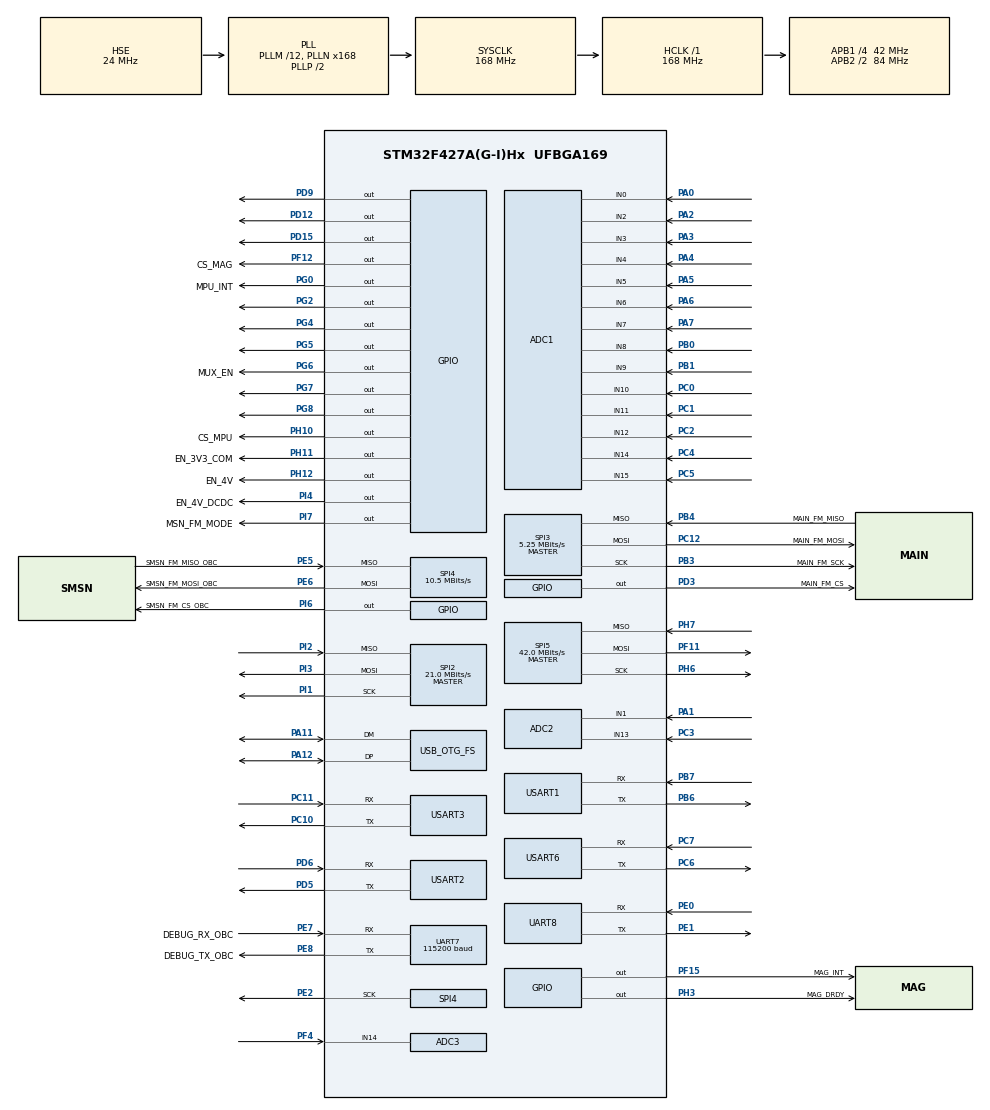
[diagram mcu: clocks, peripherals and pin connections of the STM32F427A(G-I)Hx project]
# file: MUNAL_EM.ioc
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ADC1.Channel-0\#ChannelRegularConversion=ADC_CHANNEL_0
ADC1.NbrOfConversionFlag=1
ADC1.Rank-0\#ChannelRegularConversion=1
ADC1.SamplingTime-0\#ChannelRegularConversion=ADC_SAMPLETIME_3CYCLES
ADC1.master=1
ADC2.Channel-0\#ChannelRegularConversion=ADC_CHANNEL_3
ADC2.NbrOfConversionFlag=1
ADC2.Rank-0\#ChannelRegularConversion=1
ADC2.SamplingTime-0\#ChannelRegularConversion=ADC_SAMPLETIME_3CYCLES
ADC3.Channel-0\#ChannelRegularConversion=ADC_CHANNEL_14
ADC3.NbrOfConversionFlag=1
ADC3.Rank-0\#ChannelRegularConversion=1
ADC3.SamplingTime-0\#ChannelRegularConversion=ADC_SAMPLETIME_3CYCLES
Dma.ADC1.3.Direction=DMA_PERIPH_TO_MEMORY
Dma.ADC1.3.FIFOMode=DMA_FIFOMODE_DISABLE
Dma.ADC1.3.Instance=DMA2_Stream4
Dma.ADC1.3.MemDataAlignment=DMA_MDATAALIGN_HALFWORD
Dma.ADC1.3.MemInc=DMA_MINC_ENABLE
Dma.ADC1.3.Mode=DMA_NORMAL
Dma.ADC1.3.PeriphDataAlignment=DMA_PDATAALIGN_HALFWORD
Dma.ADC1.3.PeriphInc=DMA_PINC_DISABLE
Dma.ADC1.3.Priority=DMA_PRIORITY_LOW
Dma.ADC2.2.Direction=DMA_PERIPH_TO_MEMORY
Dma.ADC2.2.FIFOMode=DMA_FIFOMODE_DISABLE
Dma.ADC2.2.Instance=DMA2_Stream2
Dma.ADC2.2.MemDataAlignment=DMA_MDATAALIGN_HALFWORD
Dma.ADC2.2.MemInc=DMA_MINC_ENABLE
Dma.ADC2.2.Mode=DMA_NORMAL
Dma.ADC2.2.PeriphDataAlignment=DMA_PDATAALIGN_HALFWORD
Dma.ADC2.2.PeriphInc=DMA_PINC_DISABLE
Dma.ADC2.2.Priority=DMA_PRIORITY_LOW
Dma.ADC3.4.Direction=DMA_PERIPH_TO_MEMORY
Dma.ADC3.4.FIFOMode=DMA_FIFOMODE_DISABLE
Dma.ADC3.4.Instance=DMA2_Stream0
Dma.ADC3.4.MemDataAlignment=DMA_MDATAALIGN_HALFWORD
Dma.ADC3.4.MemInc=DMA_MINC_ENABLE
Dma.ADC3.4.Mode=DMA_NORMAL
Dma.ADC3.4.PeriphDataAlignment=DMA_PDATAALIGN_HALFWORD
Dma.ADC3.4.PeriphInc=DMA_PINC_DISABLE
Dma.ADC3.4.Priority=DMA_PRIORITY_LOW
Dma.Request0=TIM6_UP
Dma.Request1=TIM7_UP
Dma.Request10=SPI3_RX
Dma.Request11=SPI3_TX
Dma.Request12=USART6_TX
Dma.Request13=USART1_RX
Dma.Request14=USART1_TX
Dma.Request15=USART2_RX
Dma.Request2=ADC2
Dma.Request3=ADC1
Dma.Request4=ADC3
Dma.Request5=UART8_RX
Dma.Request6=UART8_TX
Dma.Request7=UART7_RX
Dma.Request8=SPI4_RX
Dma.Request9=SPI4_TX
Dma.SPI3_RX.10.Direction=DMA_PERIPH_TO_MEMORY
Dma.SPI3_RX.10.FIFOMode=DMA_FIFOMODE_DISABLE
Dma.SPI3_RX.10.Instance=DMA1_Stream2
Dma.SPI3_RX.10.MemDataAlignment=DMA_MDATAALIGN_BYTE
Dma.SPI3_RX.10.MemInc=DMA_MINC_ENABLE
Dma.SPI3_RX.10.Mode=DMA_NORMAL
Dma.SPI3_RX.10.PeriphDataAlignment=DMA_PDATAALIGN_BYTE
Dma.SPI3_RX.10.PeriphInc=DMA_PINC_DISABLE
Dma.SPI3_RX.10.Priority=DMA_PRIORITY_LOW
Dma.SPI3_TX.11.Direction=DMA_MEMORY_TO_PERIPH
Dma.SPI3_TX.11.FIFOMode=DMA_FIFOMODE_DISABLE
Dma.SPI3_TX.11.Instance=DMA1_Stream7
Dma.SPI3_TX.11.MemDataAlignment=DMA_MDATAALIGN_BYTE
Dma.SPI3_TX.11.MemInc=DMA_MINC_ENABLE
Dma.SPI3_TX.11.Mode=DMA_NORMAL
Dma.SPI3_TX.11.PeriphDataAlignment=DMA_PDATAALIGN_BYTE
Dma.SPI3_TX.11.PeriphInc=DMA_PINC_DISABLE
Dma.SPI3_TX.11.Priority=DMA_PRIORITY_LOW
Dma.SPI4_RX.8.Direction=DMA_PERIPH_TO_MEMORY
Dma.SPI4_RX.8.FIFOMode=DMA_FIFOMODE_DISABLE
Dma.SPI4_RX.8.Instance=DMA2_Stream3
Dma.SPI4_RX.8.MemDataAlignment=DMA_MDATAALIGN_BYTE
Dma.SPI4_RX.8.MemInc=DMA_MINC_ENABLE
Dma.SPI4_RX.8.Mode=DMA_NORMAL
Dma.SPI4_RX.8.PeriphDataAlignment=DMA_PDATAALIGN_BYTE
Dma.SPI4_RX.8.PeriphInc=DMA_PINC_DISABLE
Dma.SPI4_RX.8.Priority=DMA_PRIORITY_LOW
Dma.SPI4_TX.9.Direction=DMA_MEMORY_TO_PERIPH
Dma.SPI4_TX.9.FIFOMode=DMA_FIFOMODE_DISABLE
Dma.SPI4_TX.9.Instance=DMA2_Stream1
Dma.SPI4_TX.9.MemDataAlignment=DMA_MDATAALIGN_BYTE
Dma.SPI4_TX.9.MemInc=DMA_MINC_ENABLE
Dma.SPI4_TX.9.Mode=DMA_NORMAL
Dma.SPI4_TX.9.PeriphDataAlignment=DMA_PDATAALIGN_BYTE
Dma.SPI4_TX.9.PeriphInc=DMA_PINC_DISABLE
Dma.SPI4_TX.9.Priority=DMA_PRIORITY_LOW
Dma.TIM6_UP.0.Direction=DMA_PERIPH_TO_MEMORY
Dma.TIM6_UP.0.FIFOMode=DMA_FIFOMODE_DISABLE
Dma.TIM6_UP.0.Instance=DMA1_Stream1
Dma.TIM6_UP.0.MemDataAlignment=DMA_MDATAALIGN_HALFWORD
Dma.TIM6_UP.0.MemInc=DMA_MINC_ENABLE
Dma.TIM6_UP.0.Mode=DMA_NORMAL
Dma.TIM6_UP.0.PeriphDataAlignment=DMA_PDATAALIGN_HALFWORD
Dma.TIM6_UP.0.PeriphInc=DMA_PINC_DISABLE
Dma.TIM6_UP.0.Priority=DMA_PRIORITY_LOW
Dma.TIM7_UP.1.Direction=DMA_PERIPH_TO_MEMORY
Dma.TIM7_UP.1.FIFOMode=DMA_FIFOMODE_DISABLE
Dma.TIM7_UP.1.Instance=DMA1_Stream4
Dma.TIM7_UP.1.MemDataAlignment=DMA_MDATAALIGN_HALFWORD
Dma.TIM7_UP.1.MemInc=DMA_MINC_ENABLE
Dma.TIM7_UP.1.Mode=DMA_NORMAL
Dma.TIM7_UP.1.PeriphDataAlignment=DMA_PDATAALIGN_HALFWORD
Dma.TIM7_UP.1.PeriphInc=DMA_PINC_DISABLE
Dma.TIM7_UP.1.Priority=DMA_PRIORITY_LOW
Dma.UART7_RX.7.Direction=DMA_PERIPH_TO_MEMORY
Dma.UART7_RX.7.FIFOMode=DMA_FIFOMODE_DISABLE
Dma.UART7_RX.7.Instance=DMA1_Stream3
Dma.UART7_RX.7.MemDataAlignment=DMA_MDATAALIGN_BYTE
Dma.UART7_RX.7.MemInc=DMA_MINC_ENABLE
Dma.UART7_RX.7.Mode=DMA_NORMAL
Dma.UART7_RX.7.PeriphDataAlignment=DMA_PDATAALIGN_BYTE
Dma.UART7_RX.7.PeriphInc=DMA_PINC_DISABLE
Dma.UART7_RX.7.Priority=DMA_PRIORITY_LOW
Dma.UART8_RX.5.Direction=DMA_PERIPH_TO_MEMORY
Dma.UART8_RX.5.FIFOMode=DMA_FIFOMODE_DISABLE
Dma.UART8_RX.5.Instance=DMA1_Stream6
Dma.UART8_RX.5.MemDataAlignment=DMA_MDATAALIGN_BYTE
Dma.UART8_RX.5.MemInc=DMA_MINC_ENABLE
Dma.UART8_RX.5.Mode=DMA_NORMAL
Dma.UART8_RX.5.PeriphDataAlignment=DMA_PDATAALIGN_BYTE
Dma.UART8_RX.5.PeriphInc=DMA_PINC_DISABLE
Dma.UART8_RX.5.Priority=DMA_PRIORITY_LOW
Dma.UART8_TX.6.Direction=DMA_MEMORY_TO_PERIPH
Dma.UART8_TX.6.FIFOMode=DMA_FIFOMODE_DISABLE
Dma.UART8_TX.6.Instance=DMA1_Stream0
Dma.UART8_TX.6.MemDataAlignment=DMA_MDATAALIGN_BYTE
Dma.UART8_TX.6.MemInc=DMA_MINC_ENABLE
Dma.UART8_TX.6.Mode=DMA_NORMAL
Dma.UART8_TX.6.PeriphDataAlignment=DMA_PDATAALIGN_BYTE
Dma.UART8_TX.6.PeriphInc=DMA_PINC_DISABLE
Dma.UART8_TX.6.Priority=DMA_PRIORITY_LOW
Dma.USART1_RX.13.Direction=DMA_PERIPH_TO_MEMORY
Dma.USART1_RX.13.FIFOMode=DMA_FIFOMODE_DISABLE
Dma.USART1_RX.13.Instance=DMA2_Stream5
Dma.USART1_RX.13.MemDataAlignment=DMA_MDATAALIGN_BYTE
Dma.USART1_RX.13.MemInc=DMA_MINC_ENABLE
Dma.USART1_RX.13.Mode=DMA_NORMAL
Dma.USART1_RX.13.PeriphDataAlignment=DMA_PDATAALIGN_BYTE
Dma.USART1_RX.13.PeriphInc=DMA_PINC_DISABLE
Dma.USART1_RX.13.Priority=DMA_PRIORITY_LOW
Dma.USART1_TX.14.Direction=DMA_MEMORY_TO_PERIPH
Dma.USART1_TX.14.FIFOMode=DMA_FIFOMODE_DISABLE
Dma.USART1_TX.14.Instance=DMA2_Stream7
Dma.USART1_TX.14.MemDataAlignment=DMA_MDATAALIGN_BYTE
Dma.USART1_TX.14.MemInc=DMA_MINC_ENABLE
Dma.USART1_TX.14.Mode=DMA_NORMAL
Dma.USART1_TX.14.PeriphDataAlignment=DMA_PDATAALIGN_BYTE
Dma.USART1_TX.14.PeriphInc=DMA_PINC_DISABLE
Dma.USART1_TX.14.Priority=DMA_PRIORITY_LOW
Dma.USART2_RX.15.Direction=DMA_PERIPH_TO_MEMORY
Dma.USART2_RX.15.FIFOMode=DMA_FIFOMODE_DISABLE
Dma.USART2_RX.15.Instance=DMA1_Stream5
Dma.USART2_RX.15.MemDataAlignment=DMA_MDATAALIGN_BYTE
Dma.USART2_RX.15.MemInc=DMA_MINC_ENABLE
Dma.USART2_RX.15.Mode=DMA_NORMAL
Dma.USART2_RX.15.PeriphDataAlignment=DMA_PDATAALIGN_BYTE
Dma.USART2_RX.15.PeriphInc=DMA_PINC_DISABLE
Dma.USART2_RX.15.Priority=DMA_PRIORITY_LOW
Dma.USART6_TX.12.Direction=DMA_MEMORY_TO_PERIPH
Dma.USART6_TX.12.FIFOMode=DMA_FIFOMODE_DISABLE
Dma.USART6_TX.12.Instance=DMA2_Stream6
Dma.USART6_TX.12.MemDataAlignment=DMA_MDATAALIGN_BYTE
Dma.USART6_TX.12.MemInc=DMA_MINC_ENABLE
Dma.USART6_TX.12.Mode=DMA_NORMAL
Dma.USART6_TX.12.PeriphDataAlignment=DMA_PDATAALIGN_BYTE
Dma.USART6_TX.12.PeriphInc=DMA_PINC_DISABLE
Dma.USART6_TX.12.Priority=DMA_PRIORITY_LOW
FREERTOS.Tasks01=defaultTask,24,128,StartDefaultTask,Default,NULL,Dynamic,NULL,NULL;myTask02,8,128,StartTask02,Default,NULL,Dynamic,NULL,NULL
FREERTOS.configTOTAL_HEAP_SIZE=25360
FREERTOS.configUSE_NEWLIB_REENTRANT=1
Mcu.Family=STM32F4
Mcu.Name=STM32F427A(G-I)Hx
Mcu.Package=UFBGA169
NVIC.ADC_IRQn=true\:5\:0\:false\:false\:true\:true\:true\:true
NVIC.DMA1_Stream0_IRQn=true\:5\:0\:false\:false\:true\:true\:false\:true
NVIC.DMA1_Stream1_IRQn=true\:5\:0\:false\:false\:true\:true\:false\:true
NVIC.DMA1_Stream2_IRQn=true\:5\:0\:false\:false\:true\:true\:false\:true
NVIC.DMA1_Stream3_IRQn=true\:5\:0\:false\:false\:true\:true\:false\:true
NVIC.DMA1_Stream4_IRQn=true\:5\:0\:false\:false\:true\:true\:false\:true
NVIC.DMA1_Stream5_IRQn=true\:5\:0\:false\:false\:true\:true\:false\:true
NVIC.DMA1_Stream6_IRQn=true\:5\:0\:false\:false\:true\:true\:false\:true
NVIC.DMA1_Stream7_IRQn=true\:5\:0\:false\:false\:true\:true\:false\:true
NVIC.DMA2_Stream0_IRQn=true\:5\:0\:false\:false\:true\:true\:false\:true
NVIC.DMA2_Stream1_IRQn=true\:5\:0\:false\:false\:true\:true\:false\:true
NVIC.DMA2_Stream2_IRQn=true\:5\:0\:false\:false\:true\:true\:false\:true
NVIC.DMA2_Stream3_IRQn=true\:5\:0\:false\:false\:true\:true\:false\:true
NVIC.DMA2_Stream4_IRQn=true\:5\:0\:false\:false\:true\:true\:false\:true
NVIC.DMA2_Stream5_IRQn=true\:5\:0\:false\:false\:true\:true\:false\:true
NVIC.DMA2_Stream6_IRQn=true\:5\:0\:false\:false\:true\:true\:false\:true
NVIC.DMA2_Stream7_IRQn=true\:5\:0\:false\:false\:true\:true\:false\:true
NVIC.OTG_FS_IRQn=true\:5\:0\:false\:false\:true\:true\:false\:true
NVIC.PriorityGroup=NVIC_PRIORITYGROUP_4
NVIC.RCC_IRQn=true\:5\:0\:false\:false\:true\:true\:true\:false
NVIC.SPI3_IRQn=true\:5\:0\:false\:false\:true\:true\:true\:true
NVIC.SPI4_IRQn=true\:5\:0\:false\:false\:true\:true\:true\:true
NVIC.SPI5_IRQn=true\:5\:0\:false\:false\:true\:true\:true\:true
NVIC.TIM1_BRK_TIM9_IRQn=true\:15\:0\:false\:false\:true\:false\:false\:true
NVIC.TIM6_DAC_IRQn=true\:5\:0\:false\:false\:true\:true\:true\:true
NVIC.TIM7_IRQn=true\:5\:0\:false\:false\:true\:true\:true\:true
NVIC.TimeBase=TIM1_BRK_TIM9_IRQn
NVIC.TimeBaseIP=TIM9
NVIC.UART7_IRQn=true\:5\:0\:false\:false\:true\:true\:true\:true
NVIC.UART8_IRQn=true\:5\:0\:false\:false\:true\:true\:true\:true
NVIC.USART1_IRQn=true\:5\:0\:false\:false\:true\:true\:true\:true
NVIC.USART2_IRQn=true\:5\:0\:false\:false\:true\:true\:true\:true
NVIC.USART3_IRQn=true\:5\:0\:false\:false\:true\:true\:true\:true
NVIC.USART6_IRQn=true\:5\:0\:false\:false\:true\:true\:true\:true
PA0/WKUP.Signal=ADCx_IN0
PA1.Signal=ADCx_IN1
PA11.Mode=Device_Only
PA11.Signal=USB_OTG_FS_DM
PA12.Mode=Device_Only
PA12.Signal=USB_OTG_FS_DP
PA13.Mode=Serial_Wire
PA13.Signal=SYS_JTMS-SWDIO
PA14.Mode=Serial_Wire
PA14.Signal=SYS_JTCK-SWCLK
PA2.Signal=ADCx_IN2
PA3.Signal=ADCx_IN3
PA4.Signal=ADCx_IN4
PA5.Signal=ADCx_IN5
PA6.Signal=ADCx_IN6
PA7.Signal=ADCx_IN7
PB0.Signal=ADCx_IN8
PB1.Signal=ADCx_IN9
PB3.GPIO_Label=MAIN_FM_SCK
PB3.Mode=Full_Duplex_Master
PB3.Signal=SPI3_SCK
PB4.GPIO_Label=MAIN_FM_MISO
PB4.Mode=Full_Duplex_Master
PB4.Signal=SPI3_MISO
PB6.Mode=Asynchronous
PB6.Signal=USART1_TX
PB7.Mode=Asynchronous
PB7.Signal=USART1_RX
PC0.Signal=ADCx_IN10
PC1.Signal=ADCx_IN11
PC10.Mode=Asynchronous
PC10.Signal=USART3_TX
PC11.Mode=Asynchronous
PC11.Signal=USART3_RX
PC12.GPIO_Label=MAIN_FM_MOSI
PC12.Mode=Full_Duplex_Master
PC12.Signal=SPI3_MOSI
PC2.Signal=ADCx_IN12
PC3.Signal=ADCx_IN13
PC4.Signal=ADCx_IN14
PC5.Signal=ADCx_IN15
PC6.Mode=Asynchronous
PC6.Signal=USART6_TX
PC7.Mode=Asynchronous
PC7.Signal=USART6_RX
PD12.Signal=GPIO_Output
PD15.Signal=GPIO_Output
PD3.GPIO_Label=MAIN_FM_CS
PD3.Signal=GPIO_Output
PD5.Mode=Asynchronous
PD5.Signal=USART2_TX
PD6.Mode=Asynchronous
PD6.Signal=USART2_RX
PD9.Signal=GPIO_Output
PE0.Mode=Asynchronous
PE0.Signal=UART8_RX
PE1.Mode=Asynchronous
PE1.Signal=UART8_TX
PE2.Mode=Full_Duplex_Master
PE2.Signal=SPI4_SCK
PE5.GPIO_Label=SMSN_FM_MISO_OBC
PE5.Mode=Full_Duplex_Master
PE5.Signal=SPI4_MISO
PE6.GPIO_Label=SMSN_FM_MOSI_OBC
PE6.Mode=Full_Duplex_Master
PE6.Signal=SPI4_MOSI
PE7.GPIO_Label=DEBUG_RX_OBC
PE7.Mode=Asynchronous
PE7.Signal=UART7_RX
PE8.GPIO_Label=DEBUG_TX_OBC
PE8.Mode=Asynchronous
PE8.Signal=UART7_TX
PF11.Mode=Full_Duplex_Master
PF11.Signal=SPI5_MOSI
PF12.GPIO_Label=CS_MAG
PF12.Signal=GPIO_Output
PF15.GPIO_Label=MAG_INT
PF15.Signal=GPIO_Output
PF4.Mode=IN14
PF4.Signal=ADC3_IN14
PG0.GPIO_Label=MPU_INT
PG0.Signal=GPIO_Output
PG2.Signal=GPIO_Output
PG4.Signal=GPIO_Output
PG5.Signal=GPIO_Output
PG6.GPIO_Label=MUX_EN
PG6.Signal=GPIO_Output
PG7.Signal=GPIO_Output
PG8.Signal=GPIO_Output
PH0/OSC_IN.Mode=HSE-External-Oscillator
PH0/OSC_IN.Signal=RCC_OSC_IN
PH1/OSC_OUT.Mode=HSE-External-Oscillator
PH1/OSC_OUT.Signal=RCC_OSC_OUT
PH10.GPIO_Label=CS_MPU
PH10.Signal=GPIO_Output
PH11.GPIO_Label=EN_3V3_COM
PH11.Signal=GPIO_Output
PH12.GPIO_Label=EN_4V
PH12.Signal=GPIO_Output
PH3.GPIO_Label=MAG_DRDY
PH3.Signal=GPIO_Output
PH6.Mode=Full_Duplex_Master
PH6.Signal=SPI5_SCK
PH7.Mode=Full_Duplex_Master
PH7.Signal=SPI5_MISO
PI1.Mode=Full_Duplex_Master
PI1.Signal=SPI2_SCK
PI2.Mode=Full_Duplex_Master
PI2.Signal=SPI2_MISO
PI3.Mode=Full_Duplex_Master
PI3.Signal=SPI2_MOSI
PI4.GPIO_Label=EN_4V_DCDC
PI4.Signal=GPIO_Output
PI6.GPIO_Label=SMSN_FM_CS_OBC
PI6.Signal=GPIO_Output
PI7.GPIO_Label=MSN_FM_MODE
PI7.Signal=GPIO_Output
ProjectManager.HeapSize=0x200
ProjectManager.StackSize=0x400
ProjectManager.TargetToolchain=STM32CubeIDE
RCC.48MHZClocksFreq_Value=48000000
RCC.AHBFreq_Value=168000000
RCC.APB1CLKDivider=RCC_HCLK_DIV4
RCC.APB1Freq_Value=42000000
RCC.APB1TimFreq_Value=84000000
RCC.APB2CLKDivider=RCC_HCLK_DIV2
RCC.APB2Freq_Value=84000000
RCC.APB2TimFreq_Value=168000000
RCC.CortexFreq_Value=168000000
RCC.HCLKFreq_Value=168000000
RCC.HSE_VALUE=24000000
RCC.HSI_VALUE=16000000
RCC.PLLM=12
RCC.PLLN=168
RCC.PLLQ=7
RCC.SYSCLKFreq_VALUE=168000000
RCC.SYSCLKSource=RCC_SYSCLKSOURCE_PLLCLK
RCC.VCOOutputFreq_Value=336000000
SH.ADCx_IN0.0=ADC1_IN0,IN0
SH.ADCx_IN0.1=ADC2_IN0,IN0
SH.ADCx_IN0.2=ADC3_IN0,IN0
SH.ADCx_IN1.0=ADC2_IN1,IN1
SH.ADCx_IN1.1=ADC1_IN1,IN1
SH.ADCx_IN1.2=ADC3_IN1,IN1
SH.ADCx_IN10.0=ADC1_IN10,IN10
SH.ADCx_IN10.1=ADC2_IN10,IN10
SH.ADCx_IN10.2=ADC3_IN10,IN10
SH.ADCx_IN11.0=ADC1_IN11,IN11
SH.ADCx_IN11.1=ADC2_IN11,IN11
SH.ADCx_IN11.2=ADC3_IN11,IN11
SH.ADCx_IN12.0=ADC1_IN12,IN12
SH.ADCx_IN12.1=ADC2_IN12,IN12
SH.ADCx_IN12.2=ADC3_IN12,IN12
SH.ADCx_IN13.0=ADC2_IN13,IN13
SH.ADCx_IN13.1=ADC1_IN13,IN13
SH.ADCx_IN14.0=ADC1_IN14,IN14
SH.ADCx_IN14.1=ADC2_IN14,IN14
SH.ADCx_IN15.0=ADC1_IN15,IN15
SH.ADCx_IN15.1=ADC2_IN15,IN15
SH.ADCx_IN2.0=ADC1_IN2,IN2
SH.ADCx_IN2.1=ADC2_IN2,IN2
SH.ADCx_IN2.2=ADC3_IN2,IN2
SH.ADCx_IN3.0=ADC1_IN3,IN3
SH.ADCx_IN3.1=ADC2_IN3,IN3
SH.ADCx_IN3.2=ADC3_IN3,IN3
SH.ADCx_IN4.0=ADC1_IN4,IN4
SH.ADCx_IN4.1=ADC2_IN4,IN4
SH.ADCx_IN5.0=ADC1_IN5,IN5
SH.ADCx_IN5.1=ADC2_IN5,IN5
SH.ADCx_IN6.0=ADC1_IN6,IN6
SH.ADCx_IN6.1=ADC2_IN6,IN6
SH.ADCx_IN7.0=ADC1_IN7,IN7
SH.ADCx_IN7.1=ADC2_IN7,IN7
SH.ADCx_IN8.0=ADC1_IN8,IN8
SH.ADCx_IN8.1=ADC2_IN8,IN8
SH.ADCx_IN9.0=ADC1_IN9,IN9
SH.ADCx_IN9.1=ADC2_IN9,IN9
SPI2.CalculateBaudRate=21.0 MBits/s
SPI2.Direction=SPI_DIRECTION_2LINES
SPI2.Mode=SPI_MODE_MASTER
SPI2.VirtualType=VM_MASTER
SPI3.BaudRatePrescaler=SPI_BAUDRATEPRESCALER_8
SPI3.CalculateBaudRate=5.25 MBits/s
SPI3.Direction=SPI_DIRECTION_2LINES
SPI3.Mode=SPI_MODE_MASTER
SPI3.VirtualType=VM_MASTER
SPI4.BaudRatePrescaler=SPI_BAUDRATEPRESCALER_8
SPI4.CalculateBaudRate=10.5 MBits/s
SPI4.Direction=SPI_DIRECTION_2LINES
SPI4.Mode=SPI_MODE_MASTER
SPI4.VirtualType=VM_MASTER
SPI5.CalculateBaudRate=42.0 MBits/s
SPI5.Direction=SPI_DIRECTION_2LINES
SPI5.Mode=SPI_MODE_MASTER
SPI5.VirtualType=VM_MASTER
TIM6.Period=10000-1
TIM6.Prescaler=8400-1
TIM7.Period=30000-1
TIM7.Prescaler=8400-1
UART7.BaudRate=115200
UART7.VirtualMode=Asynchronous
UART8.VirtualMode=Asynchronous
USART1.VirtualMode=VM_ASYNC
USART2.VirtualMode=VM_ASYNC
USART3.VirtualMode=VM_ASYNC
USART6.VirtualMode=VM_ASYNC
USB_DEVICE.CLASS_NAME_FS=CDC
USB_DEVICE.VirtualMode-CDC_FS=Cdc
USB_DEVICE.VirtualModeFS=Cdc_FS
USB_OTG_FS.VirtualMode=Device_Only
VP_ADC1_TempSens_Input.Mode=IN-TempSens
VP_FREERTOS_VS_CMSIS_V2.Mode=CMSIS_V2
VP_SYS_VS_tim9.Mode=TIM9
VP_TIM6_VS_ClockSourceINT.Mode=Enable_Timer
VP_TIM7_VS_ClockSourceINT.Mode=Enable_Timer
VP_USB_DEVICE_VS_USB_DEVICE_CDC_FS.Mode=CDC_FS
board=custom

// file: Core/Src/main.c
/* USER CODE BEGIN Header */
/**
  ******************************************************************************
  * @file           : main.c
  * @brief          : Main program body
  ******************************************************************************
  * @attention
  *
  * <h2><center>&copy; Copyright (c) 2024 STMicroelectronics.
  * All rights reserved.</center></h2>
  *
  * This software component is licensed by ST under Ultimate Liberty license
  * SLA0044, the "License"; You may not use this file except in compliance with
  * the License. You may obtain a copy of the License at:
  *                             www.st.com/SLA0044
  *
  ******************************************************************************
  */
/* USER CODE END Header */
#include "main.h"
#include "cmsis_os.h"
#include "adc.h"
#include "dma.h"
#include "spi.h"
#include "tim.h"
#include "usart.h"
#include "usb_device.h"
#include "gpio.h"

/* USER CODE BEGIN Includes */
//#include "stdarg.h"
//#include "lfs_util.h"
//#include "lfs.h"
//#include "MT25Q.h"
//#include "nor.h"
#include "../../IMU/imu.h"
#include "command_parser.h"
#include "file_operations.h"

/* USER CODE END Includes */

/* USER CODE BEGIN PD */
#define sector_size 32

#define PATH_MAX_LEN 256
/* USER CODE END PD */

/* USER CODE BEGIN PM */
//void myprintf(const char *fmt, ...);
/* USER CODE END PM */

/* USER CODE BEGIN PV */
ADC_HandleTypeDef hadc1;
ADC_HandleTypeDef hadc3;

SPI_HandleTypeDef hspi3;
SPI_HandleTypeDef hspi4;

UART_HandleTypeDef huart7;
UART_HandleTypeDef huart1;

/* USER CODE BEGIN PV */
//uint8_t tx[]={'S','A','N','G','A','M'};
HAL_StatusTypeDef catch;
uint8_t HANDSHAKE_STATUS = 0;
uint8_t COM_RX_DATA[30];
uint16_t adc_buf[17];
float adc_conv_buf[17];

uint8_t hk_counter=0;
uint16_t tim_val = 0;
uint16_t address = 0x00;
uint8_t status_reg=0;
uint8_t READ_FLAG=0;
int tx[70];

uint8_t DEBUG_DATA_RX_FLAG = 0;
// variables used by the filesystem
typedef struct{
	uint32_t secCount;
	uint32_t bootCount;
}app_count_t;
	lfs_file_t File,File2[2];
		char Text[20];
		app_count_t Counter = {0};
		lfs_t Lfs,Lfs2[2];
		nor_t Nor;
		uint16_t adc_channels[17] = {'66535'};
		uint16_t adc1_channels[17] = {'66535'};

/* USER CODE END PV */

void SystemClock_Config(void);
void MX_FREERTOS_Init(void);
/* USER CODE BEGIN PFP */

void __init_littefs(){
	// because of static qualifier, this variable
	// will have a dedicated address
	static struct lfs_config LfsConfig = {0};
		int Error;

		LfsConfig.read_size = 256;
		LfsConfig.prog_size = 256;
		LfsConfig.block_size = Nor.info.u16SectorSize;
		LfsConfig.block_count =  16384;//Nor.info.u32SectorCount;
		LfsConfig.cache_size = Nor.info.u16PageSize;
		LfsConfig.lookahead_size = 256;//Nor.info.u32SectorCount/8;
		LfsConfig.block_cycles = 15000;

		LfsConfig.read = _fs_read;
		LfsConfig.prog = _fs_write;
		LfsConfig.erase = _fs_erase;
		LfsConfig.sync = _fs_sync;

		Error = lfs_mount(&Lfs, &LfsConfig);
		if (Error != LFS_ERR_OK){
			lfs_format(&Lfs, &LfsConfig);
			Error = lfs_mount(&Lfs, &LfsConfig);
			if (Error != LFS_ERR_OK){
				Error_Handler();
			}
		}

}

// Recursive function to list files and directories with full paths
void list_files_with_size(lfs_t *lfs, const char *path) {
    lfs_dir_t dir;
    struct lfs_info info;

    // Open the directory at the given path
    int err = lfs_dir_open(lfs, &dir, path);
    if (err) {
        printf("Failed to open directory: %s\n", path);
        return;
    }

    // Loop through all files in the directory
    while (true) {
        err = lfs_dir_read(lfs, &dir, &info);
        if (err < 0) {
            printf("Failed to read directory: %s\n", path);
            break;
        }

        // If no more files, break
        if (err == 0) {
            break;
        }

        // Build the full path for the current file/directory
        char full_path[PATH_MAX_LEN];
        snprintf(full_path, sizeof(full_path), "%s/%s", path, info.name);
        char pa[500];
        // Check if the entry is a file or directory
        if (info.type == LFS_TYPE_REG) {
            sprintf(pa,"File: %s, Size: %ld bytes\n", full_path, info.size);
            HAL_UART_Transmit(&huart7, pa, strlen(pa),1000);
        } else if (info.type == LFS_TYPE_DIR && strcmp(info.name, ".") != 0 && strcmp(info.name, "..") != 0) {
            sprintf(pa,"Directory: %s\n", full_path);
            HAL_UART_Transmit(&huart7, pa, strlen(pa),1000);
            // Recursively list the contents of the directory
            list_files_with_size(lfs, full_path);
        }
    }

    // Close the directory
    lfs_dir_close(lfs, &dir);
}
void __init_storage(){
	__init_nor();
	__init_littefs();
}

void HAL_TIM_PeriodElapsedCallback(TIM_HandleTypeDef *htim)
{
  // Check which version of the timer triggered this callback and toggle LED
  if (htim == &htim6 )
  {
//    HAL_UART_Transmit(&huart7, "\nCounter is : ", sizeof("\nCounter is : "), 100);
    tim_val++;
//    char uart_buf[20] ;
//    sprintf(uart_buf, "%u us\0\r\n", tim_val);
//    HAL_UART_Transmit(&huart7, uart_buf, sizeof(uart_buf), 100);

  }
  if(htim == &htim7){
	  hk_counter++;
	  if(hk_counter%30 == 0){ char uart_buf[20] ;
		  sprintf(uart_buf, "%u us\0\r\n", tim_val);
		  HAL_UART_Transmit(&huart7, uart_buf, sizeof(uart_buf), 100);
		  HK_IMU();

		  HAL_UART_Transmit(&huart7, "\n-----------------------------Collected HK DATA-----------n", sizeof("\n-----------------------------Collected HK DATA-----------n"), 100);
		  hk_counter=0;
		  RUN_ADC2();
		  tim_val = 0 ;
	  }

  }
}

void RUN_ADC2(){
	HAL_UART_Transmit(&huart7,"\n\n********************S2S ADC is starting ************\n", sizeof("********************S2S ADC is starting ************\n"),1000);

			ADC_Operate(adc_channels, adc1_channels);
			 ADC_Conv_Data(adc_conv_buf, adc_buf);
			for(int i =0; i<sizeof(adc_channels); i++)
			myprintf("%d | %d **", adc_channels[i],adc1_channels[i]);
			//		HK_IMU();
			HAL_Delay(10000);
			HAL_UART_Transmit(&huart7,"\n\n********************S2S ADC data collection complete ************\n", sizeof("********************S2S ADC data collection complete************\n"),1000);

}

void HAL_UART_RxCpltCallback(UART_HandleTypeDef *huart){
//			if(huart->Instance == &huart1)
			{
				printf("Data received on COM UART1\n");
				parse_command(&COM_RX_DATA,Lfs, File);

			    HAL_UART_Receive_DMA(&COM_uart, COM_RX_DATA, sizeof(COM_RX_DATA));
			}
		}
/* USER CODE END PFP */

int main(void)
{
  /* USER CODE BEGIN 1 */
	  char uart_buf[50];
	  int uart_buf_len;
  /* USER CODE END 1 */

  /* MCU Configuration--------------------------------------------------------*/

  /* Reset of all peripherals, Initializes the Flash interface and the Systick. */
  HAL_Init();

  /* Configure the system clock */
  SystemClock_Config();

  /* Initialize all configured peripherals */
  MX_GPIO_Init();
  MX_SPI3_Init();
  MX_UART7_Init();
  MX_SPI4_Init();
  MX_ADC1_Init();
  MX_DMA_Init();
  MX_TIM6_Init();
  MX_ADC3_Init();
  MX_TIM7_Init();
  MX_ADC2_Init();
  MX_UART8_Init();
  MX_USART6_UART_Init();
  MX_USART3_UART_Init();
  MX_USART1_UART_Init();
  MX_SPI5_Init();
  MX_SPI2_Init();
  MX_USART2_UART_Init();
  /* USER CODE BEGIN 2 */
/*  HAL_GPIO_WritePin(GPIOH, GPIO_PIN_11, GPIO_PIN_RESET);
  HAL_Delay(500);

  HAL_GPIO_WritePin(GPIOH, GPIO_PIN_11, GPIO_PIN_SET);
        uint8_t HANDSHAKE[7] = {0x53,0xac,0x01,0x02,0x03,0x7e},ret_handshake[7]={'\0'};
        do{
        	HAL_Delay(1000);
     	   if(HAL_UART_Transmit(&COM_uart, HANDSHAKE, sizeof(HANDSHAKE),1000) == HAL_OK){
     		   if(HAL_UART_Receive(&COM_uart, ret_handshake, sizeof(ret_handshake), 1000) == HAL_OK)
     			   for(int i =0 ; i<sizeof(HANDSHAKE); i++){
     				   if(HANDSHAKE[i] != ret_handshake[i]){
     					   HANDSHAKE_STATUS =1 ;
     					   break;
     				   }
     				   else{
     					   HANDSHAKE_STATUS  = 2;
     				   }
     		   }
//     		   if(HANDSHAKE_STATUS == 2){
//     			   break;
//     		   }
     		   HAL_Delay(500);
     	   }
        }while(HANDSHAKE_STATUS == 1);
        myDebug("Handshake with COM successful.\n");

//        create_empty_files();

  HAL_TIM_Base_Start_IT(&htim6);
  HAL_TIM_Base_Start_IT(&htim7);
//  HAL_UART_Receive_DMA(&COM_uart, COM_RX_DATA, sizeof(COM_RX_DATA));

  HAL_UART_Transmit(&huart7,"********************S2S OBC is starting ************\n", sizeof("********************S2S OBC is starting ************\n"),1000);

//	while(1){
//		HAL_UART_Transmit(&huart7,"\n\n********************S2S ADC is starting ************\n", sizeof("********************S2S ADC is starting ************\n"),1000);
//
//		ADC_Operate(adc_channels, adc1_channels);
//		 ADC_Conv_Data(adc_conv_buf, adc_buf);
//		for(int i =0; i<sizeof(adc_channels); i++)
//		myprintf("%d | %d **", adc_channels[i],adc1_channels[i]);
//		//		HK_IMU();
//		HAL_Delay(10000);
//
//	}

 __init_storage();
 list_files(&Lfs);

//  char path[200];
// char txt[]="sangam is writing it manually";
//
//	__init_littefs();
 list_files_with_size(&Lfs, "/");
// 		  lfs_file_open(&Lfs, &File, "flags.txt", LFS_O_TRUNC  | LFS_O_CREAT );// |LFS_O_APPEND |LFS_O_APPEND
// 		  lfs_file_write(&Lfs, &File, &txt, sizeof(txt));
// 		  lfs_file_close(&Lfs, &File);
// read_file_from_littlefs(&Lfs, "satHealth.txt");
////  read_file_from_littlefs(&Lfs, "sat_health.txt");
// read_file_from_littlefs(&Lfs, "flags.txt");

 list_files_with_size(&Lfs, "/");
 truncate_text_file1(Lfs, File );
 uint8_t count=0;uint16_t timer_val;

  uint8_t command[30]={1,2,3,4,5,6,7,8,9,10,11,12,13,14,15,16,17,18,19,20,21,22,23,24,25,26,27,28,29};
  command[16]=0x01;
  command[17]=0xca;
  command[18]=0xd1;
  command[19]=0xf2;
  parse_command(command, Lfs, File );

  command[16]=0x01;
    command[17]=0x1d;
    command[18]=0xd1;
    command[19]=0xf2;
    parse_command(command, Lfs, File );

    command[16]=0x01;
      command[17]=0xee;
      command[18]=0xee;
      command[19]=0xee;
      parse_command(command, Lfs, File );

      command[16]=0x01;
        command[17]=0xee;
        command[18]=0xaa;
        command[19]=0xaa;
        parse_command(command, Lfs, File );

        command[16]=0x01;
          command[17]=0x1a;
          command[18]=0xe0;
          command[19]=0x1e;
          parse_command(command, Lfs, File );

          command[16]=0x02;
          command[17]=0xfd;
          command[18]=0xba;
          command[19]=0xd0;
          parse_command(command, Lfs, File );

          command[16]=0x03;
          command[17]=0x0e;
          command[18]=0x53;
          command[19]=0xce;
          parse_command(command, Lfs, File );

          command[16]=0x04;
          command[17]=0xcc;
          command[18]=0x5e;
          command[19]=0xbd;
          parse_command(command, Lfs, File );

          command[16]=0x05;
          command[17]=0xac;
          command[18]=0xcf;
          command[19]=0xcf;
          parse_command(command, Lfs, File );
          */
  /* USER CODE END 2 */

  /* Init scheduler */
  osKernelInitialize();  /* Call init function for freertos objects (in freertos.c) */
  MX_FREERTOS_Init();
  /* Start scheduler */
  osKernelStart();

  /* We should never get here as control is now taken by the scheduler */
  /* Infinite loop */
  /* USER CODE BEGIN WHILE */
  while (1)
  {
//	  if(HAL_UART_Receive(&huart2, COM_RX_DATA,30,1000)==HAL_OK){
//		  myprintf("Received data %s\n",COM_RX_DATA);
//	  }
	  catch = HAL_UART_Receive(&COM_uart, COM_RX_DATA,10,5000);
	  if(catch==HAL_OK){
			  myprintf("Received data %s\n",COM_RX_DATA);
		  }

    /* USER CODE END WHILE */

  }
}

void SystemClock_Config(void)
{
  RCC_OscInitTypeDef RCC_OscInitStruct = {0};
  RCC_ClkInitTypeDef RCC_ClkInitStruct = {0};

  /** Configure the main internal regulator output voltage
  */
  __HAL_RCC_PWR_CLK_ENABLE();
  __HAL_PWR_VOLTAGESCALING_CONFIG(PWR_REGULATOR_VOLTAGE_SCALE1);
  /** Initializes the RCC Oscillators according to the specified parameters
  * in the RCC_OscInitTypeDef structure.
  */
  RCC_OscInitStruct.OscillatorType = RCC_OSCILLATORTYPE_HSE;
  RCC_OscInitStruct.HSEState = RCC_HSE_ON;
  RCC_OscInitStruct.PLL.PLLState = RCC_PLL_ON;
  RCC_OscInitStruct.PLL.PLLSource = RCC_PLLSOURCE_HSE;
  RCC_OscInitStruct.PLL.PLLM = 12;
  RCC_OscInitStruct.PLL.PLLN = 168;
  RCC_OscInitStruct.PLL.PLLP = RCC_PLLP_DIV2;
  RCC_OscInitStruct.PLL.PLLQ = 7;
  if (HAL_RCC_OscConfig(&RCC_OscInitStruct) != HAL_OK)
  {
    Error_Handler();
  }
  /** Initializes the CPU, AHB and APB buses clocks
  */
  RCC_ClkInitStruct.ClockType = RCC_CLOCKTYPE_HCLK|RCC_CLOCKTYPE_SYSCLK
                              |RCC_CLOCKTYPE_PCLK1|RCC_CLOCKTYPE_PCLK2;
  RCC_ClkInitStruct.SYSCLKSource = RCC_SYSCLKSOURCE_PLLCLK;
  RCC_ClkInitStruct.AHBCLKDivider = RCC_SYSCLK_DIV1;
  RCC_ClkInitStruct.APB1CLKDivider = RCC_HCLK_DIV4;
  RCC_ClkInitStruct.APB2CLKDivider = RCC_HCLK_DIV2;

  if (HAL_RCC_ClockConfig(&RCC_ClkInitStruct, FLASH_LATENCY_5) != HAL_OK)
  {
    Error_Handler();
  }
}

//void HAL_TIM_PeriodElapsedCallback(TIM_HandleTypeDef *htim)
//{
//  /* USER CODE BEGIN Callback 0 */
////////
//  /* USER CODE END Callback 0 */
//  if (htim->Instance == TIM9) {
//    HAL_IncTick();
//  }
//  /* USER CODE BEGIN Callback 1 */
////////
//  /* USER CODE END Callback 1 */
//}

void Error_Handler(void)
{
  __disable_irq();
  while (1)
  {
  }
}

/************************ (C) COPYRIGHT STMicroelectronics *****END OF FILE****/

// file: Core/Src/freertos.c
/* USER CODE BEGIN Header */
/**
  ******************************************************************************
  * File Name          : freertos.c
  * Description        : Code for freertos applications
  ******************************************************************************
  * @attention
  *
  * <h2><center>&copy; Copyright (c) 2024 STMicroelectronics.
  * All rights reserved.</center></h2>
  *
  * This software component is licensed by ST under Ultimate Liberty license
  * SLA0044, the "License"; You may not use this file except in compliance with
  * the License. You may obtain a copy of the License at:
  *                             www.st.com/SLA0044
  *
  ******************************************************************************
  */
/* USER CODE END Header */

#include "FreeRTOS.h"
#include "task.h"
#include "main.h"
#include "cmsis_os.h"

/* USER CODE BEGIN Variables */
 extern UART_HandleTypeDef huart7;
/* USER CODE END Variables */
/* Definitions for defaultTask */
osThreadId_t defaultTaskHandle;
const osThreadAttr_t defaultTask_attributes = {
  .name = "defaultTask",
  .stack_size = 128 * 4,
  .priority = (osPriority_t) osPriorityNormal,
};
/* Definitions for myTask02 */
osThreadId_t myTask02Handle;
const osThreadAttr_t myTask02_attributes = {
  .name = "myTask02",
  .stack_size = 128 * 4,
  .priority = (osPriority_t) osPriorityLow,
};

void StartDefaultTask(void *argument);
void StartTask02(void *argument);

extern void MX_USB_DEVICE_Init(void);
void MX_FREERTOS_Init(void); /* (MISRA C 2004 rule 8.1) */

void MX_FREERTOS_Init(void) {

  /* Create the thread(s) */
  /* creation of defaultTask */
  defaultTaskHandle = osThreadNew(StartDefaultTask, NULL, &defaultTask_attributes);

  /* creation of myTask02 */
  myTask02Handle = osThreadNew(StartTask02, NULL, &myTask02_attributes);

}

void StartDefaultTask(void *argument)
{
  /* init code for USB_DEVICE */
  MX_USB_DEVICE_Init();
  /* USER CODE BEGIN StartDefaultTask */
  /* Infinite loop */
  for(;;)
  {
	  HAL_UART_Transmit(&huart7, "rest\n", sizeof("rest\n"),1000);
    osDelay(1);
  }
  /* USER CODE END StartDefaultTask */
}

void StartTask02(void *argument)
{
  for(;;)
  {
    osDelay(1);
  }
}

/************************ (C) COPYRIGHT STMicroelectronics *****END OF FILE****/
